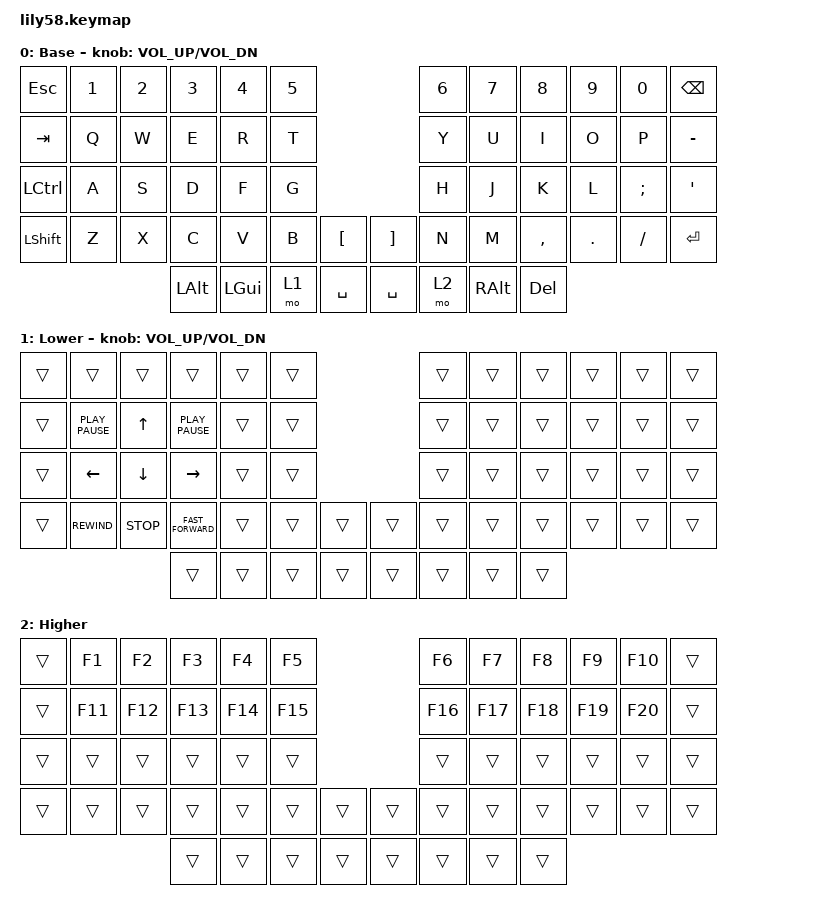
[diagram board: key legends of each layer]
/*
 * Copyright (c) 2020 The ZMK Contributors
 *
 * SPDX-License-Identifier: MIT
 */

#include <behaviors.dtsi>
#include <dt-bindings/zmk/keys.h>

/ {
    keymap {
        compatible = "zmk,keymap";

        default_layer {
            // ------------------------------------------------------------------------------------------------------------
            // |  ESC  |  1  |  2  |  3   |  4   |  5   |                   |  6   |  7    |  8    |  9   |   0   |   `   |
            // |  TAB  |  Q  |  W  |  E   |  R   |  T   |                   |  Y   |  U    |  I    |  O   |   P   |   -   |
            // |  CTRL |  A  |  S  |  D   |  F   |  G   |                   |  H   |  J    |  K    |  L   |   ;   |   '   |
            // | SHIFT |  Z  |  X  |  C   |  V   |  B   |   "["  |  |  "]"  |  N   |  M    |  ,    |  .   |   /   | SHIFT |
            //                     | ALT  | GUI  | LOWER|  SPACE |  | ENTER | RAISE| BSPC  | GUI   |

            display-name = "Base";
            bindings = <
&kp ESC    &kp N1  &kp N2  &kp N3    &kp N4    &kp N5                          &kp N6  &kp N7         &kp N8      &kp N9   &kp N0    &kp BACKSPACE
&kp TAB    &kp Q   &kp W   &kp E     &kp R     &kp T                           &kp Y   &kp U          &kp I       &kp O    &kp P     &kp MINUS
&kp LCTRL  &kp A   &kp S   &kp D     &kp F     &kp G                           &kp H   &kp J          &kp K       &kp L    &kp SEMI  &kp SQT
&kp LSHFT  &kp Z   &kp X   &kp C     &kp V     &kp B   &kp LBKT     &kp RBKT   &kp N   &kp M          &kp COMMA   &kp DOT  &kp FSLH  &kp ENTER
                           &kp LALT  &kp LGUI  &mo 1   &kp SPACE    &kp SPACE  &mo 2   &kp RIGHT_ALT  &kp DELETE
            >;

            sensor-bindings = <&inc_dec_kp C_VOL_UP C_VOL_DN>;
        };

        lower_layer {
            // ------------------------------------------------------------------------------------------------------------
            // | BTCLR | BT1 | BT2 |  BT3 |  BT4 |  BT5 |                   |      |       |       |      |       |       |
            // |  F1   |  F2 |  F3 |  F4  |  F5  |  F6  |                   |  F7  |  F8   |  F9   |  F10 |  F11  |  F12  |
            // |   `   |  !  |  @  |  #   |  $   |  %   |                   |  ^   |  &    |  *    |  (   |   )   |   ~   |
            // |       |     |     |      |      |      |        |  |       |      |  _    |  +    |  {   |   }   |  "|"  |
            //                     |      |      |      |        |  |       |      |       |       |

            display-name = "Lower";
            bindings = <
&trans  &trans            &trans          &trans              &trans  &trans                    &trans  &trans  &trans  &trans  &trans  &trans
&trans  &kp K_PLAY_PAUSE  &kp UP_ARROW    &kp K_PLAY_PAUSE    &trans  &trans                    &trans  &trans  &trans  &trans  &trans  &trans
&trans  &kp LEFT_ARROW    &kp DOWN_ARROW  &kp RIGHT_ARROW     &trans  &trans                    &trans  &trans  &trans  &trans  &trans  &trans
&trans  &kp C_REWIND      &kp K_STOP      &kp C_FAST_FORWARD  &trans  &trans  &trans    &trans  &trans  &trans  &trans  &trans  &trans  &trans
                                          &trans              &trans  &trans  &trans    &trans  &trans  &trans  &trans
            >;

            sensor-bindings = <&inc_dec_kp C_VOL_UP C_VOL_DN>;
        };

        higher_layer {
            bindings = <
&trans  &kp F1   &kp F2   &kp F3   &kp F4   &kp F5                     &kp F6   &kp F7   &kp F8   &kp F9   &kp F10  &trans
&trans  &kp F11  &kp F12  &kp F13  &kp F14  &kp F15                    &kp F16  &kp F17  &kp F18  &kp F19  &kp F20  &trans
&trans  &trans   &trans   &trans   &trans   &trans                     &trans   &trans   &trans   &trans   &trans   &trans
&trans  &trans   &trans   &trans   &trans   &trans   &trans    &trans  &trans   &trans   &trans   &trans   &trans   &trans
                          &trans   &trans   &trans   &trans    &trans  &trans   &trans   &trans
            >;

            label = "Higher";
        };
    };
};
